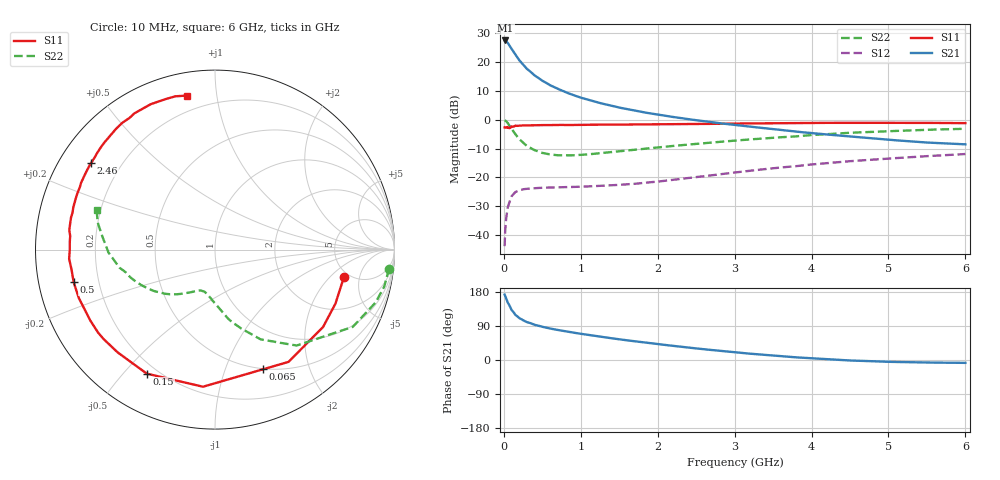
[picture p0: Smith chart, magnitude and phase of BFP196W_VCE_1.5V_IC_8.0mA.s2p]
! Infineon Technologies  Discrete & RF Semiconductors
! BFP196W
! VCE = 1.5 V,  IC = 8.0mA
! Common Emitter S-Parameters:  Jan 2016
# GHz  S  MA  R  50
!  f  S11  S21  S12  S22
! GHz  MAG  ANG  MAG  ANG  MAG  ANG  MAG  ANG
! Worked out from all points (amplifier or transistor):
!   210 points, 10 MHz to 6 GHz, reference 50 ohm
!   highest |S21| = 27.5 dB at 20 MHz (marker M1)
!   |S21| within 3 dB of that: start of sweep to 104.3 MHz
!   unconditionally stable (mu >= 1): 1.269 GHz to 3.343 GHz
!   at 185 MHz: K = 0.19, MSG = 23.0 dB, |S12| = -24.7 dB
!   at 1.52 GHz: K = 1.13, MAG = 11.2 dB, |S12| = -22.6 dB
!   at 6 GHz: K = 1.00, MSG = 1.7 dB, |S12| = -11.9 dB
!   S11 on the Smith chart (normalised r, x): 10 MHz: 4.47, -2.99; 65 MHz: 0.49, -1.36; 150 MHz: 0.16, -0.58; 500 MHz: 0.11, -0.11; 2.46 GHz: 0.09, +0.31; 6 GHz: 0.12, +0.83
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0.01  0.7345 -12.1  23.53 172.6  0.0064 81.7  0.9758 -6.2
0.02  0.7355 -24.2  23.72 168.2  0.0134 77.9  0.9651 -12.4
0.03  0.7406 -35.6  23.16 162.7  0.0192 73.9  0.9422 -18.2
0.05  0.7477 -56.8  21.68 151.8  0.0299 64.1  0.8802 -29.3
0.065  0.7184 -68.2  20.09 146.9  0.0346 57.0  0.8168 -34.4
0.1  0.7669 -95.0  17.13 132.1  0.0469 46.5  0.7017 -49.6
0.15  0.7887 -118.8  13.51 119.0  0.0556 35.9  0.5616 -63.0
0.2  0.7888 -133.5  10.81 110.7  0.0596 29.7  0.4615 -71.8
0.24  0.796 -141.3  9.364 106.1  0.0616 26.6  0.4119 -77.1
0.3  0.7993 -150.4  7.624 100.0  0.0634 23.4  0.3495 -83.1
0.4  0.8052 -160.4  5.865 92.9  0.0649 20.5  0.296 -90.8
0.5  0.8081 -167.1  4.754 87.5  0.066 19.7  0.2658 -96.3
0.6  0.807 -172.0  3.98 83.1  0.0665 19.6  0.25 -100.6
0.7  0.8143 -176.4  3.443 79.2  0.0672 20.2  0.2418 -103.8
1.02  0.812 174.2  2.373 68.5  0.0691 23.3  0.2466 -112.2
1.4  0.82 165.4  1.741 57.3  0.0726 28.9  0.2743 -119.7
2.02  0.8341 153.0  1.215 41.5  0.085 39.1  0.3317 -131.3
2.46  0.8422 145.0  0.997 31.5  0.0991 43.6  0.377 -139.7
3.1  0.8602 134.1  0.784 18.6  0.1257 45.9  0.4444 -152.3
4.1  0.8819 119.2  0.571 3.5  0.1719 42.7  0.5509 -171.3
5.1  0.8825 107.9  0.439 -5.1  0.216 35.6  0.6392 172.1
6  0.8722 100.3  0.374 -7.6  0.2539 29.0  0.6959 161.4
